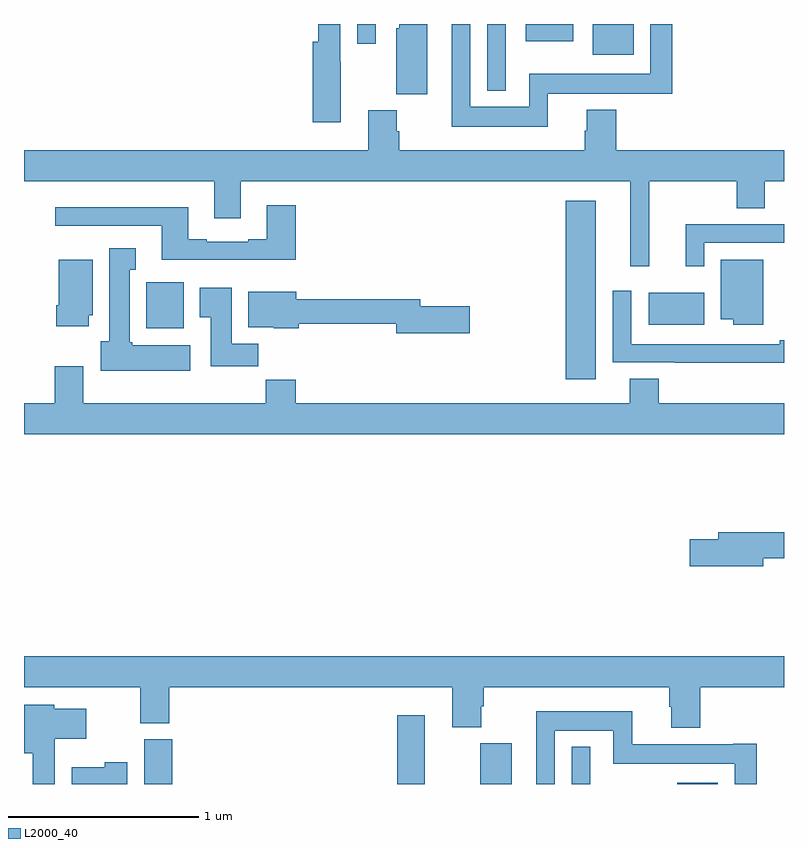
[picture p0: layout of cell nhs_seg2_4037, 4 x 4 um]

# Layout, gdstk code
import gdstk
lib = gdstk.Library(unit=1e-6, precision=1e-09)
def R(c, l, rs):  # rectangles x0, y0, x1, y1
    for r in rs: c.add(gdstk.rectangle(r[:2], r[2:], *l))
def P(c, l, *ps):  # polygons
    for p in ps: c.add(gdstk.Polygon(p, *l))
L2000_40 = (2000, 40)

nhs_seg2_4037 = lib.new_cell('nhs_seg2_4037')
R(nhs_seg2_4037, L2000_40, [(327.632,641.8,327.779,642.036), (329.402,641.8,329.566,642.015), (329.883,641.8,329.979,641.995), (330.437,641.8,330.652,641.806), (329.852,643.929,330.01,644.869), (327.644,644.198,327.841,644.44), (330.287,644.216,330.58,644.386), (329.439,645.449,329.535,645.8), (329.993,645.638,330.208,645.8), (328.755,645.696,328.851,645.8), (329.642,645.71,329.89,645.8)])
P(nhs_seg2_4037, L2000_40, [(329.756,645.434),(330.29,645.434),(330.29,645.432),(330.413,645.432),(330.413,645.8),(330.297,645.8),(330.297,645.538),(329.658,645.538),(329.658,645.364),(329.349,645.364),(329.349,645.8),(329.252,645.8),(329.252,645.26),(329.756,645.26)],
  [(329.122,645.8),(328.976,645.8),(328.976,645.777),(328.958,645.777),(328.958,645.43),(329.122,645.43)],
  [(328.666,645.602),(328.665,645.602),(328.665,645.8),(328.549,645.8),(328.549,645.706),(328.52,645.706),(328.52,645.282),(328.666,645.282)],
  [(330.29,644.972),(330.751,644.972),(330.751,644.83),(330.898,644.83),(330.898,644.972),(331,644.972),(331,645.136),(330.116,645.136),(330.116,645.349),(329.963,645.349),(329.963,645.237),(329.951,645.237),(329.951,645.136),(328.976,645.136),(328.976,645.236),(328.963,645.236),(328.963,645.345),(328.811,645.345),(328.811,645.136),(327,645.136),(327,644.972),(328.001,644.972),(328.001,644.778),(328.141,644.778),(328.141,644.972),(330.191,644.972),(330.191,644.526),(330.29,644.526)],
  [(328.43,644.845),(328.277,644.845),(328.277,644.668),(328.181,644.668),(328.181,644.655),(327.961,644.655),(327.961,644.668),(327.865,644.668),(327.865,644.836),(327.165,644.836),(327.165,644.739),(327.725,644.739),(327.725,644.558),(328.43,644.558)],
  [(330.579,644.649),(331,644.649),(331,644.745),(330.482,644.745),(330.482,644.526),(330.579,644.526)],
  [(327.874,644.11),(327.57,644.11),(327.57,644.124),(327.556,644.124),(327.556,644.507),(327.589,644.507),(327.589,644.62),(327.449,644.62),(327.449,644.13),(327.404,644.13),(327.404,643.976),(327.874,643.976)],
  [(327.34,644.268),(327.361,644.268),(327.361,644.56),(327.182,644.56),(327.182,644.32),(327.17,644.32),(327.17,644.208),(327.34,644.208)],
  [(330.892,644.56),(330.668,644.56),(330.668,644.246),(330.734,644.246),(330.734,644.216),(330.892,644.216)],
  [(328.232,644.116),(328.093,644.116),(328.093,644.413),(327.926,644.413),(327.926,644.257),(327.983,644.257),(327.983,643.998),(328.232,643.998)],
  [(331,644.135),(330.977,644.135),(330.977,644.115),(330.195,644.115),(330.195,644.395),(330.099,644.395),(330.099,644.019),(330.424,644.019),(330.424,644.018),(331,644.018)],
  [(329.347,644.315),(329.086,644.315),(329.086,644.351),(328.432,644.351),(328.432,644.392),(328.181,644.392),(328.181,644.204),(328.314,644.204),(328.314,644.198),(328.445,644.198),(328.445,644.223),(328.958,644.223),(328.958,644.173),(329.347,644.173)],
  [(331,643.804),(330.341,643.804),(330.341,643.934),(330.188,643.934),(330.188,643.804),(328.43,643.804),(328.43,643.928),(328.273,643.928),(328.273,643.804),(327.313,643.804),(327.313,643.999),(327.161,643.999),(327.161,643.804),(327,643.804),(327,643.64),(331,643.64)],
  [(330.892,642.988),(331,642.988),(331,643.124),(330.653,643.124),(330.653,643.088),(330.504,643.088),(330.504,642.946),(330.892,642.946)],
  [(330.56,642.308),(331,642.308),(331,642.472),(327,642.472),(327,642.308),(327.611,642.308),(327.611,642.121),(327.764,642.121),(327.764,642.308),(329.255,642.308),(329.255,642.1),(329.407,642.1),(329.407,642.209),(329.42,642.209),(329.42,642.308),(330.395,642.308),(330.395,642.207),(330.407,642.207),(330.407,642.095),(330.56,642.095)],
  [(327.163,642.038),(327.328,642.038),(327.328,642.196),(327.159,642.196),(327.159,642.217),(327,642.217),(327,641.963),(327.047,641.963),(327.047,641.8),(327.163,641.8)],
  [(329.793,642.08),(330.102,642.08),(330.102,641.906),(330.741,641.906),(330.741,641.8),(330.857,641.8),(330.857,642.013),(330.734,642.013),(330.734,642.01),(330.2,642.01),(330.2,642.184),(329.696,642.184),(329.696,641.8),(329.793,641.8)],
  [(329.109,641.842),(329.11,641.842),(329.11,642.163),(328.964,642.163),(328.964,641.8),(329.109,641.8)],
  [(327.544,641.914),(327.426,641.914),(327.426,641.887),(327.251,641.887),(327.251,641.8),(327.544,641.8)])

lib.write_gds('nhs_seg2_4037.gds')
